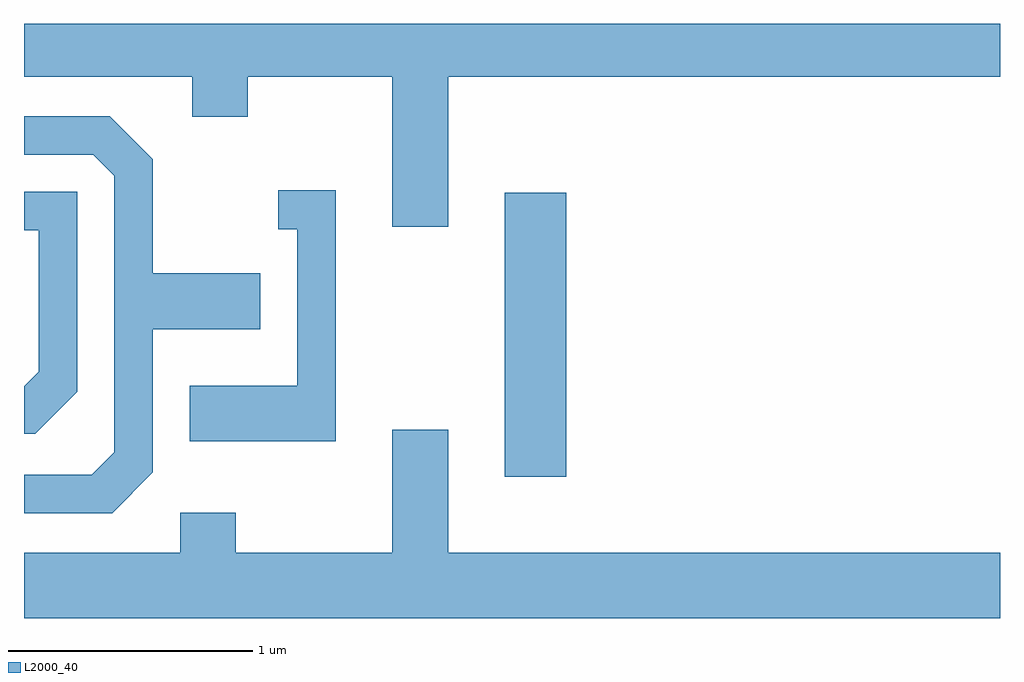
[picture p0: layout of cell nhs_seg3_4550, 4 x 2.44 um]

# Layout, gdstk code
import gdstk
lib = gdstk.Library(unit=1e-6, precision=1e-09)
def R(c, l, rs):  # rectangles x0, y0, x1, y1
    for r in rs: c.add(gdstk.rectangle(r[:2], r[2:], *l))
def P(c, l, *ps):  # polygons
    for p in ps: c.add(gdstk.Polygon(p, *l))
L2000_40 = (2000, 40)

nhs_seg3_4550 = lib.new_cell('nhs_seg3_4550')
R(nhs_seg3_4550, L2000_40, [(319.581,1242.036,319.834,1243.199)])
P(nhs_seg3_4550, L2000_40, [(319.349,1243.676),(321.611,1243.676),(321.611,1243.892),(317.611,1243.892),(317.611,1243.676),(318.301,1243.676),(318.301,1243.511),(318.529,1243.511),(318.529,1243.676),(319.121,1243.676),(319.121,1243.061),(319.349,1243.061)],
  [(318.139,1242.054),(318.139,1242.641),(318.579,1242.641),(318.579,1242.869),(318.139,1242.869),(318.139,1243.337),(317.962,1243.514),(317.611,1243.514),(317.611,1243.356),(317.894,1243.356),(317.981,1243.269),(317.981,1242.137),(317.889,1242.044),(317.611,1242.044),(317.611,1241.886),(317.972,1241.886)],
  [(318.889,1243.209),(318.653,1243.209),(318.653,1243.051),(318.731,1243.051),(318.731,1242.409),(318.291,1242.409),(318.291,1242.181),(318.889,1242.181)],
  [(317.829,1242.384),(317.829,1243.204),(317.611,1243.204),(317.611,1243.046),(317.671,1243.046),(317.671,1242.467),(317.611,1242.406),(317.611,1242.211),(317.657,1242.211)],
  [(321.611,1241.724),(319.349,1241.724),(319.349,1242.229),(319.121,1242.229),(319.121,1241.724),(318.479,1241.724),(318.479,1241.889),(318.251,1241.889),(318.251,1241.724),(317.611,1241.724),(317.611,1241.456),(321.611,1241.456)])

lib.write_gds('nhs_seg3_4550.gds')
